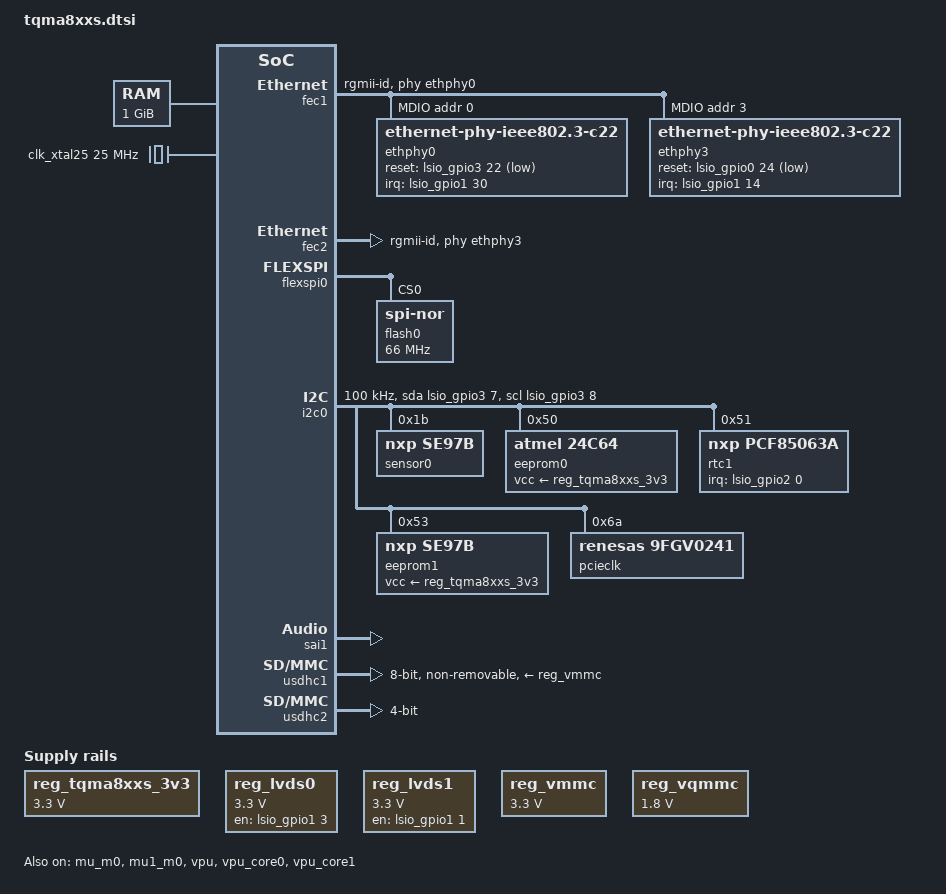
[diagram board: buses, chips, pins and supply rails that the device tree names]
// SPDX-License-Identifier: (GPL-2.0-or-later OR MIT)
/*
 * Copyright (c) 2018-2025 TQ-Systems GmbH <linux@ew.tq-group.com>,
 * D-82229 Seefeld, Germany.
 * Author: Alexander Stein
 */

#include <dt-bindings/net/ti-dp83867.h>

/delete-node/ &encoder_rpc;

/ {
	memory@80000000 {
		device_type = "memory";
		/*
		 * DRAM base addr, minimal size : 1024 MiB DRAM
		 * should be corrected by bootloader
		 */
		reg = <0x00000000 0x80000000 0 0x40000000>;
	};

	clk_xtal25: clk-xtal25 {
		compatible = "fixed-clock";
		#clock-cells = <0>;
		clock-frequency = <25000000>;
	};

	reg_tqma8xxs_3v3: regulator-3v3 {
		compatible = "regulator-fixed";
		regulator-name = "3V3";
		regulator-min-microvolt = <3300000>;
		regulator-max-microvolt = <3300000>;
		regulator-always-on;
	};

	reg_lvds0: regulator-lvds0 {
		compatible = "regulator-fixed";
		pinctrl-names = "default";
		pinctrl-0 = <&pinctrl_lvds0>;
		regulator-name = "LCD0_VDD_EN";
		regulator-min-microvolt = <3300000>;
		regulator-max-microvolt = <3300000>;
		gpio = <&lsio_gpio1 3 GPIO_ACTIVE_HIGH>;
		enable-active-high;
	};

	reg_lvds1: regulator-lvds1 {
		compatible = "regulator-fixed";
		pinctrl-names = "default";
		pinctrl-0 = <&pinctrl_lvds1>;
		regulator-name = "LCD1_VDD_EN";
		regulator-min-microvolt = <3300000>;
		regulator-max-microvolt = <3300000>;
		gpio = <&lsio_gpio1 1 GPIO_ACTIVE_HIGH>;
		enable-active-high;
	};

	reg_sdvmmc: regulator-sdvmmc {
		compatible = "regulator-fixed";
		pinctrl-names = "default";
		pinctrl-0 = <&pinctrl_sdvmmc>;
		regulator-name = "SD1_VMMC";
		regulator-min-microvolt = <3300000>;
		regulator-max-microvolt = <3300000>;
		gpio = <&lsio_gpio4 19 GPIO_ACTIVE_HIGH>;
		enable-active-high;
		status = "disabled";
	};

	reg_vmmc: regulator-vmmc {
		compatible = "regulator-fixed";
		regulator-name = "MMC0_3V3";
		regulator-min-microvolt = <3300000>;
		regulator-max-microvolt = <3300000>;
		regulator-always-on;
	};

	reg_vqmmc: regulator-vqmmc {
		compatible = "regulator-fixed";
		regulator-name = "MMC0_1V8";
		regulator-min-microvolt = <1800000>;
		regulator-max-microvolt = <1800000>;
		regulator-always-on;
	};

	reserved-memory {
		#address-cells = <2>;
		#size-cells = <2>;
		ranges;

		/*
		 * global autoconfigured region for contiguous allocations
		 * must not exceed memory size and region
		 */
		linux,cma {
			compatible = "shared-dma-pool";
			reusable;
			size = <0 0x20000000>;
			alloc-ranges = <0 0x96000000 0 0x30000000>;
			linux,cma-default;
		};

		decoder_boot: decoder-boot@84000000 {
			reg = <0 0x84000000 0 0x2000000>;
			no-map;
		};

		encoder_boot: encoder-boot@86000000 {
			reg = <0 0x86000000 0 0x200000>;
			no-map;
		};

		m4_reserved: m4@88000000 {
			no-map;
			reg = <0 0x88000000 0 0x8000000>;
			status = "disabled";
		};

		vdev0vring0: vdev0vring0@90000000 {
			compatible = "shared-dma-pool";
			reg = <0 0x90000000 0 0x8000>;
			no-map;
			status = "disabled";
		};

		vdev0vring1: vdev0vring1@90008000 {
			compatible = "shared-dma-pool";
			reg = <0 0x90008000 0 0x8000>;
			no-map;
			status = "disabled";
		};

		vdev1vring0: vdev1vring0@90010000 {
			compatible = "shared-dma-pool";
			reg = <0 0x90010000 0 0x8000>;
			no-map;
			status = "disabled";
		};

		vdev1vring1: vdev1vring1@90018000 {
			compatible = "shared-dma-pool";
			reg = <0 0x90018000 0 0x8000>;
			no-map;
			status = "disabled";
		};

		rsc_table: rsc-table@900ff000 {
			reg = <0 0x900ff000 0 0x1000>;
			no-map;
			status = "disabled";
		};

		vdevbuffer: vdevbuffer@90400000 {
			compatible = "shared-dma-pool";
			reg = <0 0x90400000 0 0x100000>;
			no-map;
			status = "disabled";
		};

		decoder_rpc: decoder-rpc@92000000 {
			reg = <0 0x92000000 0 0x100000>;
			no-map;
		};

		encoder_rpc: encoder-rpc@92100000 {
			reg = <0 0x92100000 0 0x700000>;
			no-map;
		};
	};

};

/* TQMa8XxS only uses industrial grade, reduce trip points accordingly */
&cpu_alert0 {
	temperature = <95000>;
};

&cpu_crit0 {
	temperature = <100000>;
};
/* end of temperature grade adjustments */

&fec1 {
	pinctrl-names = "default";
	pinctrl-0 = <&pinctrl_fec1>;
	phy-mode = "rgmii-id";
	phy-handle = <&ethphy0>;
	fsl,magic-packet;
	mac-address = [ 00 00 00 00 00 00 ];

	mdio {
		#address-cells = <1>;
		#size-cells = <0>;

		ethphy0: ethernet-phy@0 {
			compatible = "ethernet-phy-ieee802.3-c22";
			reg = <0>;
			pinctrl-names = "default";
			pinctrl-0 = <&pinctrl_ethphy0>;
			ti,rx-internal-delay = <DP83867_RGMIIDCTL_2_50_NS>;
			ti,tx-internal-delay = <DP83867_RGMIIDCTL_2_50_NS>;
			ti,fifo-depth = <DP83867_PHYCR_FIFO_DEPTH_4_B_NIB>;
			ti,dp83867-rxctrl-strap-quirk;
			ti,clk-output-sel = <DP83867_CLK_O_SEL_OFF>;
			reset-gpios = <&lsio_gpio3 22 GPIO_ACTIVE_LOW>;
			reset-assert-us = <500000>;
			reset-deassert-us = <50000>;
			enet-phy-lane-no-swap;
			interrupt-parent = <&lsio_gpio1>;
			interrupts = <30 IRQ_TYPE_LEVEL_LOW>;
		};

		ethphy3: ethernet-phy@3 {
			compatible = "ethernet-phy-ieee802.3-c22";
			reg = <3>;
			pinctrl-names = "default";
			pinctrl-0 = <&pinctrl_ethphy1>;
			ti,rx-internal-delay = <DP83867_RGMIIDCTL_2_50_NS>;
			ti,tx-internal-delay = <DP83867_RGMIIDCTL_2_50_NS>;
			ti,fifo-depth = <DP83867_PHYCR_FIFO_DEPTH_4_B_NIB>;
			ti,dp83867-rxctrl-strap-quirk;
			ti,clk-output-sel = <DP83867_CLK_O_SEL_OFF>;
			reset-gpios = <&lsio_gpio0 24 GPIO_ACTIVE_LOW>;
			reset-assert-us = <500000>;
			reset-deassert-us = <50000>;
			enet-phy-lane-no-swap;
			interrupt-parent = <&lsio_gpio1>;
			interrupts = <14 IRQ_TYPE_LEVEL_LOW>;
		};
	};
};

&fec2 {
	pinctrl-names = "default";
	pinctrl-0 = <&pinctrl_fec2>;
	phy-mode = "rgmii-id";
	phy-handle = <&ethphy3>;
	fsl,magic-packet;
	mac-address = [ 00 00 00 00 00 00 ];
};

&flexcan2 {
	pinctrl-names = "default";
	pinctrl-0 = <&pinctrl_can1>;
};

&flexcan3 {
	pinctrl-names = "default";
	pinctrl-0 = <&pinctrl_can2>;
};

&flexspi0 {
	pinctrl-names = "default";
	pinctrl-0 = <&pinctrl_flexspi0>;
	status = "okay";

	flash0: flash@0 {
		compatible = "jedec,spi-nor";
		reg = <0>;
		spi-max-frequency = <66000000>;
		spi-tx-bus-width = <1>;
		spi-rx-bus-width = <4>;

		partitions {
			compatible = "fixed-partitions";
			#address-cells = <1>;
			#size-cells = <1>;
		};
	};
};

&lsio_gpio0 {
	pinctrl-names = "default";
	pinctrl-0 = <&pinctrl_smarc_fangpio>, <&pinctrl_smarc_mngtpio>;

	gpio-line-names = "", "", "", "",
			  "", "", "", "",
			  "", "", "", "",
			  "LID", "SLEEP", "CHARGING#", "CHGPRSNT#",
			  "BATLOW#", "", "", "",
			  "", "SMARC_GPIO6", "SMARC_GPIO5", "",
			  "PHY3 RST#", "", "", "SPI0_CS0",
			  "", "SPI0_CS1", "", "";
};

&lsio_gpio1 {
	pinctrl-names = "default";
	pinctrl-0 = <&pinctrl_smarc_gpio>;

	gpio-line-names = "LCD1_BLKT_EN", "LCD1_VDD_EN", "LCD0_BLKT_EN", "LCD0_VDD_EN",
			  "SMARC_GPIO0", "SMARC_GPIO1", "SMARC_GPIO2", "",
			  "SMARC_GPIO3", "SMARC_GPIO8", "SMARC_GPIO7", "SMARC_GPIO10",
			  "SMARC_GPIO9", "SMARC_GPIO4", "", "",
			  "", "", "", "",
			  "", "", "", "",
			  "", "", "", "",
			  "", "", "", "";
};

&lsio_gpio2 {
	gpio-line-names = "RTC_INT#", "", "", "",
			  "", "", "", "",
			  "", "", "", "",
			  "", "", "", "",
			  "", "", "", "",
			  "", "", "", "",
			  "", "", "", "",
			  "", "", "", "";
};

&lsio_gpio3 {
	gpio-line-names = "", "", "", "",
			  "", "", "", "",
			  "", "", "", "",
			  "", "", "", "",
			  "", "", "", "",
			  "", "", "PHY0_RST#", "",
			  "", "", "", "",
			  "", "", "", "";
};

&lsio_gpio4 {
	gpio-line-names = "PCIE_PERST#", "", "PCIE_WAKE#", "USB_OTG1_PWR",
			  "", "", "", "",
			  "", "", "", "",
			  "", "", "", "",
			  "", "", "", "SDIO_PWR_EN",
			  "", "SDIO_WP", "SDIO_CD#", "",
			  "", "", "", "",
			  "", "", "", "";
};

&i2c0 {
	clock-frequency = <100000>;
	pinctrl-names = "default", "gpio";
	pinctrl-0 = <&pinctrl_lpi2c0>;
	pinctrl-1 = <&pinctrl_lpi2c0_gpio>;
	scl-gpios = <&lsio_gpio3 8 (GPIO_ACTIVE_HIGH | GPIO_OPEN_DRAIN)>;
	sda-gpios = <&lsio_gpio3 7 (GPIO_ACTIVE_HIGH | GPIO_OPEN_DRAIN)>;
	status = "okay";

	/* NXP SE97BTP with temperature sensor + eeprom */
	sensor0: temperature-sensor@1b {
		compatible = "nxp,se97b", "jedec,jc-42.4-temp";
		reg = <0x1b>;
	};

	eeprom0: eeprom@50 {
		compatible = "atmel,24c64";
		reg = <0x50>;
		pagesize = <32>;
		vcc-supply = <&reg_tqma8xxs_3v3>;
	};

	rtc1: rtc@51 {
		compatible = "nxp,pcf85063a";
		reg = <0x51>;
		pinctrl-names = "default";
		pinctrl-0 = <&pinctrl_rtc>;
		quartz-load-femtofarads = <7000>;
		interrupt-parent = <&lsio_gpio2>;
		interrupts = <0 IRQ_TYPE_LEVEL_LOW>;
	};

	eeprom1: eeprom@53 {
		compatible = "nxp,se97b", "atmel,24c02";
		reg = <0x53>;
		pagesize = <16>;
		read-only;
		vcc-supply = <&reg_tqma8xxs_3v3>;
	};

	pcieclk: clock-generator@6a {
		compatible = "renesas,9fgv0241";
		reg = <0x6a>;
		clocks = <&clk_xtal25>;
		#clock-cells = <1>;
	};
};

&lpspi1 {
	pinctrl-names = "default";
	pinctrl-0 = <&pinctrl_spi1>;
	cs-gpios = <&lsio_gpio0 27 GPIO_ACTIVE_LOW>, <&lsio_gpio0 29 GPIO_ACTIVE_LOW>;
};

&lpuart0 {
	pinctrl-names = "default";
	pinctrl-0 = <&pinctrl_lpuart0>;
};

&lpuart3 {
	pinctrl-names = "default";
	pinctrl-0 = <&pinctrl_lpuart3>;
};

&mu_m0 {
	status = "okay";
};

&mu1_m0 {
	status = "okay";
};

&sai1 {
	assigned-clocks = <&clk IMX_SC_R_AUDIO_PLL_0 IMX_SC_PM_CLK_PLL>,
			  <&clk IMX_SC_R_AUDIO_PLL_0 IMX_SC_PM_CLK_SLV_BUS>,
			  <&clk IMX_SC_R_AUDIO_PLL_0 IMX_SC_PM_CLK_MST_BUS>,
			  <&sai1_lpcg 0>;
	assigned-clock-rates = <786432000>, <49152000>, <12288000>, <49152000>;
	pinctrl-names = "default";
	pinctrl-0 = <&pinctrl_sai1>;
	status = "okay";
};

&thermal_zones {
	pmic0_thermal: pmic0-thermal {
		polling-delay-passive = <250>;
		polling-delay = <2000>;
		thermal-sensors = <&tsens IMX_SC_R_PMIC_0>;

		trips {
			pmic_alert0: trip0 {
				temperature = <110000>;
				hysteresis = <2000>;
				type = "passive";
			};

			pmic_crit0: trip1 {
				temperature = <125000>;
				hysteresis = <2000>;
				type = "critical";
			};
		};

		cooling-maps {
			map0 {
				trip = <&pmic_alert0>;
				cooling-device =
					<&A35_0 THERMAL_NO_LIMIT THERMAL_NO_LIMIT>,
					<&A35_1 THERMAL_NO_LIMIT THERMAL_NO_LIMIT>,
					<&A35_2 THERMAL_NO_LIMIT THERMAL_NO_LIMIT>,
					<&A35_3 THERMAL_NO_LIMIT THERMAL_NO_LIMIT>;
			};
		};
	};
};

&usdhc1 {
	pinctrl-names = "default", "state_100mhz", "state_200mhz";
	pinctrl-0 = <&pinctrl_usdhc1>;
	pinctrl-1 = <&pinctrl_usdhc1_100mhz>;
	pinctrl-2 = <&pinctrl_usdhc1_200mhz>;
	vmmc-supply = <&reg_vmmc>;
	vqmmc-supply = <&reg_vqmmc>;
	bus-width = <8>;
	non-removable;
	no-sd;
	no-sdio;
	status = "okay";
};

&usdhc2 {
	pinctrl-names = "default", "state_100mhz", "state_200mhz";
	pinctrl-0 = <&pinctrl_usdhc2>, <&pinctrl_usdhc2_gpio>;
	pinctrl-1 = <&pinctrl_usdhc2_100mhz>, <&pinctrl_usdhc2_gpio>;
	pinctrl-2 = <&pinctrl_usdhc2_200mhz>, <&pinctrl_usdhc2_gpio>;
	bus-width = <4>;
	/* NOTE: CD / WP and VMMC support depends on mainboard */
};

&vpu {
	compatible = "nxp,imx8qxp-vpu";
	status = "okay";
};

&vpu_core0 {
	memory-region = <&decoder_boot>, <&decoder_rpc>;
	status = "okay";
};

&vpu_core1 {
	memory-region = <&encoder_boot>, <&encoder_rpc>;
	status = "okay";
};

&iomuxc {
	pinctrl_backlight_lvds0: backlight-lvds0grp {
		fsl,pins = <IMX8QXP_SPI2_SDI_LSIO_GPIO1_IO02	0x00000021>;
	};

	pinctrl_backlight_lvds1: backlight-lvds1grp {
		fsl,pins = <IMX8QXP_SPI2_CS0_LSIO_GPIO1_IO00	0x00000021>;
	};

	pinctrl_can1: can1grp {
		fsl,pins = <IMX8QXP_UART2_TX_ADMA_FLEXCAN1_TX	0x00000021>,
			   <IMX8QXP_UART2_RX_ADMA_FLEXCAN1_RX	0x00000021>;
	};

	pinctrl_can2: can2grp {
		fsl,pins = <IMX8QXP_FLEXCAN2_TX_ADMA_FLEXCAN2_TX	0x00000021>,
			   <IMX8QXP_FLEXCAN2_RX_ADMA_FLEXCAN2_RX	0x00000021>;
	};

	pinctrl_ethphy0: ethphy0grp {
		fsl,pins = <IMX8QXP_MIPI_DSI1_I2C0_SDA_LSIO_GPIO1_IO30	0x00000040>,
			   <IMX8QXP_QSPI0B_DQS_LSIO_GPIO3_IO22		0x00000040>;
	};

	pinctrl_ethphy1: ethphy1grp {
		fsl,pins = <IMX8QXP_ADC_IN4_LSIO_GPIO1_IO14		0x00000040>,
			   <IMX8QXP_UART1_CTS_B_LSIO_GPIO0_IO24		0x00000040>;
	};

	pinctrl_fec1: fec1grp {
		fsl,pins = <IMX8QXP_ENET0_MDC_CONN_ENET0_MDC			0x06000041>,
			   <IMX8QXP_ENET0_MDIO_CONN_ENET0_MDIO			0x06000041>,
			   <IMX8QXP_ENET0_RGMII_TX_CTL_CONN_ENET0_RGMII_TX_CTL	0x00000040>,
			   <IMX8QXP_ENET0_RGMII_TXC_CONN_ENET0_RGMII_TXC	0x00000040>,
			   <IMX8QXP_ENET0_RGMII_TXD0_CONN_ENET0_RGMII_TXD0	0x00000040>,
			   <IMX8QXP_ENET0_RGMII_TXD1_CONN_ENET0_RGMII_TXD1	0x00000040>,
			   <IMX8QXP_ENET0_RGMII_TXD2_CONN_ENET0_RGMII_TXD2	0x00000040>,
			   <IMX8QXP_ENET0_RGMII_TXD3_CONN_ENET0_RGMII_TXD3	0x00000040>,
			   <IMX8QXP_ENET0_RGMII_RXC_CONN_ENET0_RGMII_RXC	0x00000040>,
			   <IMX8QXP_ENET0_RGMII_RX_CTL_CONN_ENET0_RGMII_RX_CTL	0x00000040>,
			   <IMX8QXP_ENET0_RGMII_RXD0_CONN_ENET0_RGMII_RXD0	0x00000040>,
			   <IMX8QXP_ENET0_RGMII_RXD1_CONN_ENET0_RGMII_RXD1	0x00000040>,
			   <IMX8QXP_ENET0_RGMII_RXD2_CONN_ENET0_RGMII_RXD2	0x00000040>,
			   <IMX8QXP_ENET0_RGMII_RXD3_CONN_ENET0_RGMII_RXD3	0x00000040>;
	};

	pinctrl_fec2: fec2grp {
		fsl,pins = <IMX8QXP_ESAI0_SCKR_CONN_ENET1_RGMII_TX_CTL		0x00000040>,
			   <IMX8QXP_ESAI0_FSR_CONN_ENET1_RGMII_TXC		0x00000040>,
			   <IMX8QXP_ESAI0_TX4_RX1_CONN_ENET1_RGMII_TXD0		0x00000040>,
			   <IMX8QXP_ESAI0_TX5_RX0_CONN_ENET1_RGMII_TXD1		0x00000040>,
			   <IMX8QXP_ESAI0_FST_CONN_ENET1_RGMII_TXD2		0x00000040>,
			   <IMX8QXP_ESAI0_SCKT_CONN_ENET1_RGMII_TXD3		0x00000040>,
			   <IMX8QXP_ESAI0_TX0_CONN_ENET1_RGMII_RXC		0x00000040>,
			   <IMX8QXP_SPDIF0_TX_CONN_ENET1_RGMII_RX_CTL		0x00000040>,
			   <IMX8QXP_SPDIF0_RX_CONN_ENET1_RGMII_RXD0		0x00000040>,
			   <IMX8QXP_ESAI0_TX3_RX2_CONN_ENET1_RGMII_RXD1		0x00000040>,
			   <IMX8QXP_ESAI0_TX2_RX3_CONN_ENET1_RGMII_RXD2		0x00000040>,
			   <IMX8QXP_ESAI0_TX1_CONN_ENET1_RGMII_RXD3		0x00000040>;
	};

	pinctrl_flexspi0: flexspi0grp {
		fsl,pins = <IMX8QXP_QSPI0A_DATA0_LSIO_QSPI0A_DATA0	0x0000004d>,
			   <IMX8QXP_QSPI0A_DATA1_LSIO_QSPI0A_DATA1	0x0000004d>,
			   <IMX8QXP_QSPI0A_DATA2_LSIO_QSPI0A_DATA2	0x0000004d>,
			   <IMX8QXP_QSPI0A_DATA3_LSIO_QSPI0A_DATA3	0x0000004d>,
			   <IMX8QXP_QSPI0A_DQS_LSIO_QSPI0A_DQS		0x0000004d>,
			   <IMX8QXP_QSPI0A_SS0_B_LSIO_QSPI0A_SS0_B	0x0000004d>,
			   <IMX8QXP_QSPI0A_SCLK_LSIO_QSPI0A_SCLK	0x0000004d>,
			   <IMX8QXP_QSPI0B_SCLK_LSIO_QSPI0B_SCLK	0x0000004d>,
			   <IMX8QXP_QSPI0B_DATA0_LSIO_QSPI0B_DATA0	0x0000004d>,
			   <IMX8QXP_QSPI0B_DATA1_LSIO_QSPI0B_DATA1	0x0000004d>,
			   <IMX8QXP_QSPI0B_DATA2_LSIO_QSPI0B_DATA2	0x0000004d>,
			   <IMX8QXP_QSPI0B_DATA3_LSIO_QSPI0B_DATA3	0x0000004d>,
			   <IMX8QXP_QSPI0B_SS0_B_LSIO_QSPI0B_SS0_B	0x0000004d>,
			   <IMX8QXP_QSPI0B_SS1_B_LSIO_QSPI0B_SS1_B	0x0000004d>;
	};

	pinctrl_smarc_gpio: smarcgpiogrp {
		fsl,pins = /* SMARC_GPIO0 / CAM0_PWR# */
			   <IMX8QXP_SPI0_SCK_LSIO_GPIO1_IO04	0x00000021>,
			   /* SMARC_GPIO1 / CAM1_PWR# */
			   <IMX8QXP_SPI0_SDI_LSIO_GPIO1_IO05	0x00000021>,
			   /* SMARC_GPIO2 / CAM0_RST# */
			   <IMX8QXP_SPI0_SDO_LSIO_GPIO1_IO06	0x00000021>,
			   /* SMARC_GPIO3 / CAM1_RST# */
			   <IMX8QXP_SPI0_CS0_LSIO_GPIO1_IO08	0x00000021>,
			   /* SMARC_GPIO4 / HDA_RST# */
			   <IMX8QXP_ADC_IN5_LSIO_GPIO1_IO13	0x00000021>,
			   /* SMARC_GPIO7 */
			   <IMX8QXP_ADC_IN0_LSIO_GPIO1_IO10	0x00000021>,
			   /* SMARC_GPIO8 */
			   <IMX8QXP_ADC_IN1_LSIO_GPIO1_IO09	0x00000021>,
			   /* SMARC_GPIO9 */
			   <IMX8QXP_ADC_IN2_LSIO_GPIO1_IO12	0x00000021>,
			   /* SMARC_GPIO10 */
			   <IMX8QXP_ADC_IN3_LSIO_GPIO1_IO11	0x00000021>;
	};

	pinctrl_smarc_fangpio: smarcfangpiogrp {
		fsl,pins = /* SMARC_GPIO5 */
			   <IMX8QXP_UART1_RX_LSIO_GPIO0_IO22	0x00000021>,
			   /* SMARC_GPIO6 */
			   <IMX8QXP_UART1_TX_LSIO_GPIO0_IO21	0x00000021>;
	};

	pinctrl_smarc_mngtpio: smarcmngtgpiogrp {
		fsl,pins = /* SMARC BATLOW# */
			   <IMX8QXP_SPI3_CS0_LSIO_GPIO0_IO16		0x00000021>,
			   /* SMARC SLEEP */
			   <IMX8QXP_SPI3_SCK_LSIO_GPIO0_IO13		0x00000021>,
			   /* SMARC CHGPRSNT# */
			   <IMX8QXP_SPI3_SDI_LSIO_GPIO0_IO15		0x00000021>,
			   /* SMARC CHARGING# */
			   <IMX8QXP_SPI3_SDO_LSIO_GPIO0_IO14		0x00000021>,
			   /* SMARC LID */
			   <IMX8QXP_SPDIF0_EXT_CLK_LSIO_GPIO0_IO12	0x00000021>;
	};

	pinctrl_lvds0: lbdpanel0grp {
		fsl,pins = /* LCD PWR */
			<IMX8QXP_SPI2_SCK_LSIO_GPIO1_IO03		0x00000021>;
	};

	pinctrl_lvds1: lbdpanel1grp {
		fsl,pins = /* LCD PWR */
			<IMX8QXP_SPI2_SDO_LSIO_GPIO1_IO01		0x00000021>;
	};

	pinctrl_lpi2c0: lpi2c0grp {
		fsl,pins = <IMX8QXP_MIPI_CSI0_GPIO0_00_ADMA_I2C0_SCL	0x06000021>,
			   <IMX8QXP_MIPI_CSI0_GPIO0_01_ADMA_I2C0_SDA	0x06000021>;
	};

	pinctrl_lpi2c0_gpio: lpi2c0gpiogrp {
		fsl,pins = <IMX8QXP_MIPI_CSI0_GPIO0_00_LSIO_GPIO3_IO08	0x00000021>,
			   <IMX8QXP_MIPI_CSI0_GPIO0_01_LSIO_GPIO3_IO07	0x00000021>;
	};

	pinctrl_lpuart0: lpuart0grp {
		fsl,pins = <IMX8QXP_UART0_RX_ADMA_UART0_RX		0x06000020>,
			   <IMX8QXP_UART0_TX_ADMA_UART0_TX		0x06000020>,
			   <IMX8QXP_FLEXCAN0_RX_ADMA_UART0_RTS_B	0x06000020>,
			   <IMX8QXP_FLEXCAN0_TX_ADMA_UART0_CTS_B	0x06000020>;
	};

	pinctrl_lpuart3: lpuart3grp {
		fsl,pins = <IMX8QXP_SCU_GPIO0_00_ADMA_UART3_RX		0x06000020>,
			   <IMX8QXP_SCU_GPIO0_01_ADMA_UART3_TX		0x06000020>;
	};

	pinctrl_i2c0_mipi_lvds0: mipi-lvds0-i2c0grp {
		fsl,pins = <IMX8QXP_MIPI_DSI0_I2C0_SCL_MIPI_DSI0_I2C0_SCL	0x06000021>,
			   <IMX8QXP_MIPI_DSI0_I2C0_SDA_MIPI_DSI0_I2C0_SDA	0x06000021>;
	};

	pinctrl_i2c0_gpio_mipi_lvds0: mipi-lvds0-i2c0-gpiogrp {
		fsl,pins = <IMX8QXP_MIPI_DSI0_I2C0_SCL_LSIO_GPIO1_IO25	0x0000021>,
			   <IMX8QXP_MIPI_DSI0_I2C0_SDA_LSIO_GPIO1_IO26	0x0000021>;
	};

	pinctrl_pcieb: pcieagrp {
		fsl,pins = <IMX8QXP_PCIE_CTRL0_PERST_B_LSIO_GPIO4_IO00	0x06000041>,
			   <IMX8QXP_PCIE_CTRL0_CLKREQ_B_LSIO_GPIO4_IO01	0x06000041>,
			   <IMX8QXP_PCIE_CTRL0_WAKE_B_LSIO_GPIO4_IO02	0x04000041>;
	};

	pinctrl_pwm_mipi_lvds0: mipi-lvds0-pwmgrp {
		fsl,pins = <IMX8QXP_MIPI_DSI0_GPIO0_00_MIPI_DSI0_PWM0_OUT	0x00000021>;
	};

	pinctrl_pwm_mipi_lvds1: mipi-lvds1-pwmgrp {
		fsl,pins = <IMX8QXP_MIPI_DSI1_GPIO0_00_MIPI_DSI1_PWM0_OUT	0x00000021>;
	};

	pinctrl_rtc: rtcgrp {
		fsl,pins = <IMX8QXP_MIPI_DSI1_GPIO0_01_LSIO_GPIO2_IO00		0x00000021>;
	};

	pinctrl_usdhc1: usdhc1grp {
		fsl,pins = <IMX8QXP_EMMC0_CLK_CONN_EMMC0_CLK		0x06000040>,
			   <IMX8QXP_EMMC0_CMD_CONN_EMMC0_CMD		0x00000020>,
			   <IMX8QXP_EMMC0_DATA0_CONN_EMMC0_DATA0	0x00000020>,
			   <IMX8QXP_EMMC0_DATA1_CONN_EMMC0_DATA1	0x00000020>,
			   <IMX8QXP_EMMC0_DATA2_CONN_EMMC0_DATA2	0x00000020>,
			   <IMX8QXP_EMMC0_DATA3_CONN_EMMC0_DATA3	0x00000020>,
			   <IMX8QXP_EMMC0_DATA4_CONN_EMMC0_DATA4	0x00000020>,
			   <IMX8QXP_EMMC0_DATA5_CONN_EMMC0_DATA5	0x00000020>,
			   <IMX8QXP_EMMC0_DATA6_CONN_EMMC0_DATA6	0x00000020>,
			   <IMX8QXP_EMMC0_DATA7_CONN_EMMC0_DATA7	0x00000020>,
			   <IMX8QXP_EMMC0_STROBE_CONN_EMMC0_STROBE	0x00000040>;
	};

	pinctrl_usdhc1_100mhz: usdhc1100mhzgrp {
		fsl,pins = <IMX8QXP_EMMC0_CLK_CONN_EMMC0_CLK		0x06000041>,
			   <IMX8QXP_EMMC0_CMD_CONN_EMMC0_CMD		0x00000021>,
			   <IMX8QXP_EMMC0_DATA0_CONN_EMMC0_DATA0	0x00000021>,
			   <IMX8QXP_EMMC0_DATA1_CONN_EMMC0_DATA1	0x00000021>,
			   <IMX8QXP_EMMC0_DATA2_CONN_EMMC0_DATA2	0x00000021>,
			   <IMX8QXP_EMMC0_DATA3_CONN_EMMC0_DATA3	0x00000021>,
			   <IMX8QXP_EMMC0_DATA4_CONN_EMMC0_DATA4	0x00000021>,
			   <IMX8QXP_EMMC0_DATA5_CONN_EMMC0_DATA5	0x00000021>,
			   <IMX8QXP_EMMC0_DATA6_CONN_EMMC0_DATA6	0x00000021>,
			   <IMX8QXP_EMMC0_DATA7_CONN_EMMC0_DATA7	0x00000021>,
			   <IMX8QXP_EMMC0_STROBE_CONN_EMMC0_STROBE	0x00000041>;
	};

	pinctrl_usdhc1_200mhz: usdhc1200mhzgrp {
		fsl,pins = <IMX8QXP_EMMC0_CLK_CONN_EMMC0_CLK		0x06000041>,
			   <IMX8QXP_EMMC0_CMD_CONN_EMMC0_CMD		0x00000021>,
			   <IMX8QXP_EMMC0_DATA0_CONN_EMMC0_DATA0	0x00000021>,
			   <IMX8QXP_EMMC0_DATA1_CONN_EMMC0_DATA1	0x00000021>,
			   <IMX8QXP_EMMC0_DATA2_CONN_EMMC0_DATA2	0x00000021>,
			   <IMX8QXP_EMMC0_DATA3_CONN_EMMC0_DATA3	0x00000021>,
			   <IMX8QXP_EMMC0_DATA4_CONN_EMMC0_DATA4	0x00000021>,
			   <IMX8QXP_EMMC0_DATA5_CONN_EMMC0_DATA5	0x00000021>,
			   <IMX8QXP_EMMC0_DATA6_CONN_EMMC0_DATA6	0x00000021>,
			   <IMX8QXP_EMMC0_DATA7_CONN_EMMC0_DATA7	0x00000021>,
			   <IMX8QXP_EMMC0_STROBE_CONN_EMMC0_STROBE	0x00000041>;
	};

	pinctrl_sdvmmc: sdvmmcgrp {
		fsl,pins = <IMX8QXP_USDHC1_RESET_B_LSIO_GPIO4_IO19	0x00000021>;
	};

	pinctrl_spi1: spi1grp {
		fsl,pins = /* PD + PDRV Low + INOUT - MEK has 0x0600004c */
			   <IMX8QXP_SAI0_TXC_ADMA_SPI1_SDI		0x06000041>,
			   <IMX8QXP_SAI0_TXD_ADMA_SPI1_SDO		0x06000041>,
			   <IMX8QXP_SAI0_TXFS_ADMA_SPI1_SCK		0x06000041>,
			   <IMX8QXP_SAI0_RXD_LSIO_GPIO0_IO27		0x00000021>,
			   <IMX8QXP_SAI1_RXD_LSIO_GPIO0_IO29		0x00000021>;
	};

	pinctrl_sai1: sai1grp {
		fsl,pins = <IMX8QXP_MCLK_OUT0_ADMA_ACM_MCLK_OUT0	0x06000040>,
			   <IMX8QXP_SAI1_RXC_ADMA_SAI1_TXC		0x06000040>,
			   <IMX8QXP_SAI1_RXFS_ADMA_SAI1_TXFS		0x06000040>,
			   <IMX8QXP_FLEXCAN1_RX_ADMA_SAI1_TXD		0x06000040>,
			   <IMX8QXP_FLEXCAN1_TX_ADMA_SAI1_RXD		0x06000040>;
	};

	pinctrl_usbotg1: usbotg1grp {
		fsl,pins = <IMX8QXP_USB_SS3_TC0_CONN_USB_OTG1_PWR	0x00000021>,
			   <IMX8QXP_USB_SS3_TC2_CONN_USB_OTG1_OC	0x00000021>;
	};

	pinctrl_usdhc2_gpio: usdhc2gpiogrp {
		fsl,pins = <IMX8QXP_USDHC1_WP_LSIO_GPIO4_IO21		0x00000021>,
			   <IMX8QXP_USDHC1_CD_B_LSIO_GPIO4_IO22		0x00000021>;
	};

	pinctrl_usdhc2: usdhc2grp {
		fsl,pins = <IMX8QXP_USDHC1_CLK_CONN_USDHC1_CLK		0x06000041>,
			   <IMX8QXP_USDHC1_CMD_CONN_USDHC1_CMD		0x00000021>,
			   <IMX8QXP_USDHC1_DATA0_CONN_USDHC1_DATA0	0x00000021>,
			   <IMX8QXP_USDHC1_DATA1_CONN_USDHC1_DATA1	0x00000021>,
			   <IMX8QXP_USDHC1_DATA2_CONN_USDHC1_DATA2	0x00000021>,
			   <IMX8QXP_USDHC1_DATA3_CONN_USDHC1_DATA3	0x00000021>,
			   <IMX8QXP_USDHC1_VSELECT_CONN_USDHC1_VSELECT	0x00000021>;
	};

	pinctrl_usdhc2_100mhz: usdhc2100mhzgrp {
		fsl,pins = <IMX8QXP_USDHC1_CLK_CONN_USDHC1_CLK		0x06000040>,
			   <IMX8QXP_USDHC1_CMD_CONN_USDHC1_CMD		0x00000020>,
			   <IMX8QXP_USDHC1_DATA0_CONN_USDHC1_DATA0	0x00000020>,
			   <IMX8QXP_USDHC1_DATA1_CONN_USDHC1_DATA1	0x00000020>,
			   <IMX8QXP_USDHC1_DATA2_CONN_USDHC1_DATA2	0x00000020>,
			   <IMX8QXP_USDHC1_DATA3_CONN_USDHC1_DATA3	0x00000020>,
			   <IMX8QXP_USDHC1_VSELECT_CONN_USDHC1_VSELECT	0x00000020>;
	};

	pinctrl_usdhc2_200mhz: usdhc2200mhzgrp {
		fsl,pins = <IMX8QXP_USDHC1_CLK_CONN_USDHC1_CLK		0x06000040>,
			   <IMX8QXP_USDHC1_CMD_CONN_USDHC1_CMD		0x00000020>,
			   <IMX8QXP_USDHC1_DATA0_CONN_USDHC1_DATA0	0x00000020>,
			   <IMX8QXP_USDHC1_DATA1_CONN_USDHC1_DATA1	0x00000020>,
			   <IMX8QXP_USDHC1_DATA2_CONN_USDHC1_DATA2	0x00000020>,
			   <IMX8QXP_USDHC1_DATA3_CONN_USDHC1_DATA3	0x00000020>,
			   <IMX8QXP_USDHC1_VSELECT_CONN_USDHC1_VSELECT	0x00000020>;
	};
};
